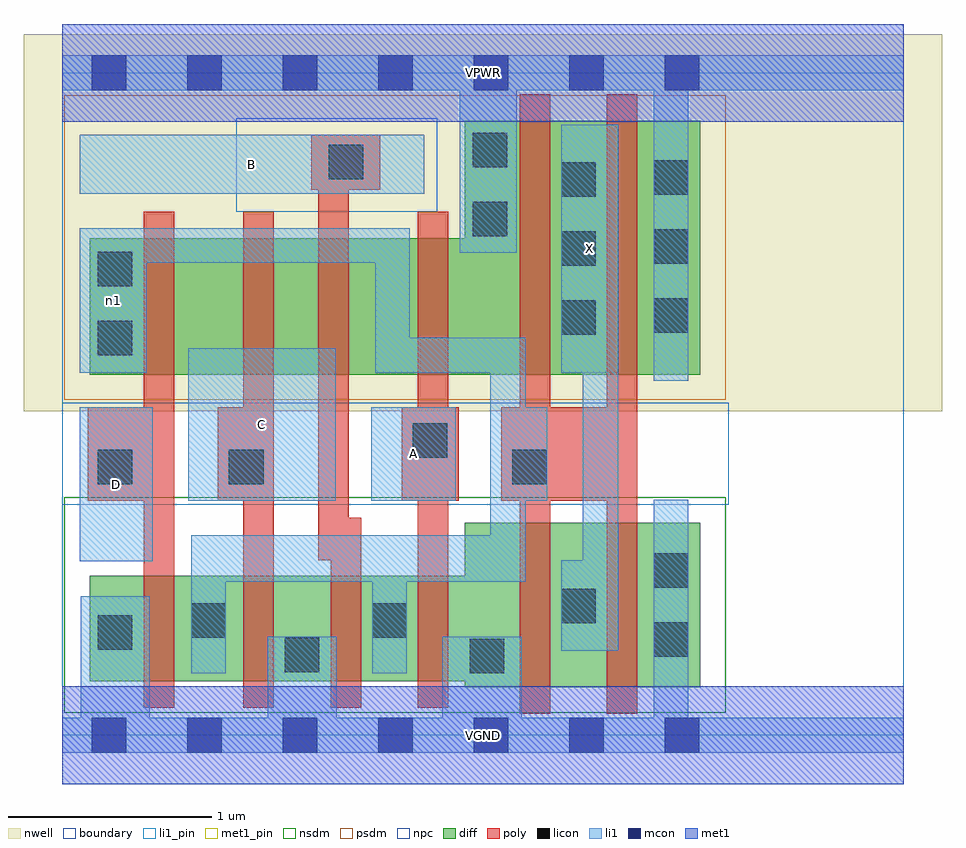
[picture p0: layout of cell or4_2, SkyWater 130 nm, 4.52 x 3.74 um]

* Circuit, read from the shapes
.subckt or4_2 A B C D VGND VPWR X n1
XM1 n1 D VGND VSUBS sky130_fd_pr__nfet_01v8 w=0.52 l=0.15
XM2 VGND C n1 VSUBS sky130_fd_pr__nfet_01v8 w=0.52 l=0.15
XM3 n1 B VGND VSUBS sky130_fd_pr__nfet_01v8 w=0.52 l=0.15
XM4 VGND A n1 VSUBS sky130_fd_pr__nfet_01v8 w=0.52 l=0.15
XM5 X n1 VGND VSUBS sky130_fd_pr__nfet_01v8 w=0.81 l=0.15 m=2
XM6 n2 D n1 n3 sky130_fd_pr__pfet_01v8 w=0.67 l=0.15
XM7 n4 C n2 n3 sky130_fd_pr__pfet_01v8 w=0.67 l=0.15
XM8 n5 B n4 n3 sky130_fd_pr__pfet_01v8 w=0.67 l=0.15
XM9 VPWR A n5 n3 sky130_fd_pr__pfet_01v8 w=0.67 l=0.15
XM10 X n1 VPWR n3 sky130_fd_pr__pfet_01v8 w=1.25 l=0.15 m=2
.ends

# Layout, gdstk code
import gdstk
lib = gdstk.Library(unit=1e-6, precision=1e-09)
def R(c, l, rs):  # rectangles x0, y0, x1, y1
    for r in rs: c.add(gdstk.rectangle(r[:2], r[2:], *l))
def A(c, l, x, y, w, h, nx, ny, dx, dy):  # array of equal rectangles
    R(c, l, [(x+i*dx, y+j*dy, x+i*dx+w, y+j*dy+h) for i in range(nx) for j in range(ny)])
nwell = (64, 20)
diff = (65, 20)
poly = (66, 20)
licon = (66, 44)
li1_pin = (67, 16)
li1 = (67, 20)
mcon = (67, 44)
met1_pin = (68, 16)
met1 = (68, 20)
nsdm = (93, 44)
psdm = (94, 20)
npc = (95, 20)
boundary = (235, 4)

or4_2 = lib.new_cell('or4_2')
R(or4_2, nwell, [(-0.19,1.595,4.33,3.45), (0,1.595,4.14,3.45)])
R(or4_2, diff, [(1.98,0.235,3.14,1.045), (0.135,0.265,3.14,0.785), (0.135,1.775,3.14,2.445), (1.98,1.775,3.14,3.025)])
R(or4_2, poly, [(2.25,0.105,2.4,3.155), (2.68,0.105,2.83,3.155), (0.4,0.135,0.55,2.575), (0.89,0.135,1.04,2.575), (1.32,0.135,1.47,1.07), (1.75,0.135,1.9,2.575), (1.26,0.86,1.41,2.955), (0.125,1.155,0.55,1.615), (0.765,1.155,1.04,1.615), (1.67,1.155,1.95,1.615), (2.16,1.155,2.83,1.615), (1.225,2.685,1.565,2.955)])
A(or4_2, licon, 2.455, 1.97, 0.17, 0.17, 1, 3, 0, 0.34)
A(or4_2, licon, 2.91, 1.98, 0.17, 0.17, 1, 3, 0, 0.34)
R(or4_2, licon, [(2.005,0.305,2.175,0.475), (1.095,0.31,1.265,0.48), (2.91,0.385,3.08,0.555), (0.175,0.42,0.345,0.59), (0.635,0.48,0.805,0.65), (1.525,0.48,1.695,0.65), (2.455,0.55,2.625,0.72), (2.91,0.725,3.08,0.895), (0.175,1.235,0.345,1.405), (0.82,1.235,0.99,1.405), (2.215,1.235,2.385,1.405), (1.725,1.365,1.895,1.535), (0.175,1.87,0.345,2.04), (0.175,2.21,0.345,2.38), (2.02,2.455,2.19,2.625), (1.31,2.735,1.48,2.905), (2.02,2.795,2.19,2.965)])
R(or4_2, li1_pin, [(0.085,0.855,0.445,1.615), (0.62,1.155,1.345,1.905), (1.52,1.155,1.935,1.615), (2.455,1.785,2.735,3.005), (0.085,2.665,1.78,2.955)])
R(or4_2, li1, [(0,-0.085,4.14,0.085), (0.09,-0.085,0.43,0.685), (1.01,-0.085,1.35,0.485), (1.87,-0.085,2.26,0.485), (2.91,-0.085,3.08,1.16), (0.635,0.305,0.805,0.985), (1.525,0.305,1.695,0.985), (2.455,0.415,2.735,0.86), (2.56,0.415,2.735,3.005), (0.635,0.755,2.28,0.985), (2.105,0.755,2.28,1.955), (0.085,0.855,0.445,1.615), (0.62,1.155,1.345,1.905), (1.52,1.155,1.935,1.615), (2.105,1.155,2.385,1.615), (2.91,1.745,3.08,3.345), (0.085,1.785,0.415,2.495), (1.54,1.785,2.28,1.955), (1.54,1.785,1.71,2.495), (2.455,1.785,2.735,3.005), (0.085,2.325,1.71,2.495), (1.955,2.375,2.235,3.345), (0.085,2.665,1.78,2.955), (0,3.175,4.14,3.345)])
A(or4_2, mcon, 0.145, -0.085, 0.17, 0.17, 7, 2, 0.47, 3.26)
R(or4_2, met1_pin, [(0,-0.24,4.14,0.24), (0,3.02,4.14,3.5)])
R(or4_2, met1, [(0,-0.24,4.14,0.24), (0,3.02,4.14,3.5)])
R(or4_2, nsdm, [(0.01,0.11,3.265,1.17)])
R(or4_2, psdm, [(0.01,1.65,3.265,3.15)])
R(or4_2, npc, [(0,1.135,3.28,1.635), (0.855,2.575,1.845,3.035)])
R(or4_2, boundary, [(0,0,4.14,3.26)])
or4_2.add(gdstk.Label('A', (1.727,1.385), layer=67, texttype=5))
or4_2.add(gdstk.Label('B', (0.932,2.81), layer=67, texttype=5))
or4_2.add(gdstk.Label('C', (0.982,1.53), layer=67, texttype=5))
or4_2.add(gdstk.Label('D', (0.265,1.235), layer=67, texttype=5))
or4_2.add(gdstk.Label('X', (2.595,2.395), layer=67, texttype=5))
or4_2.add(gdstk.Label('n1', (0.25,2.14), layer=67, texttype=5))
or4_2.add(gdstk.Label('VPWR', (2.07,3.26), layer=68, texttype=5))
or4_2.add(gdstk.Label('VGND', (2.07,0), layer=68, texttype=5))
or4_2.add(gdstk.Label('A', (1.727,1.385), layer=67, texttype=16))
or4_2.add(gdstk.Label('B', (0.932,2.81), layer=67, texttype=16))
or4_2.add(gdstk.Label('C', (0.982,1.53), layer=67, texttype=16))
or4_2.add(gdstk.Label('D', (0.265,1.235), layer=67, texttype=16))
or4_2.add(gdstk.Label('X', (2.595,2.395), layer=67, texttype=16))
or4_2.add(gdstk.Label('VPWR', (2.07,3.26), layer=68, texttype=16))
or4_2.add(gdstk.Label('VGND', (2.07,0), layer=68, texttype=16))

lib.write_gds('or4_2.gds')
